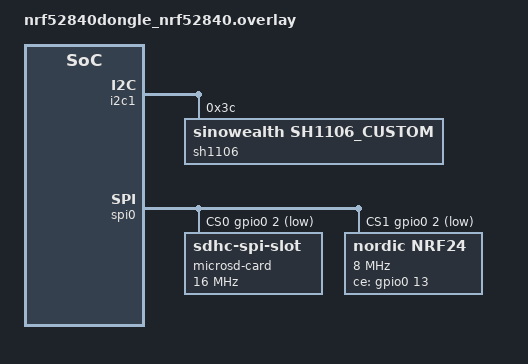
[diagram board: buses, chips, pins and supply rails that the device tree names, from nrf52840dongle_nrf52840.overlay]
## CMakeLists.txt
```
# SPDX-License-Identifier: Apache-2.0

cmake_minimum_required(VERSION 3.20.0)

list(APPEND EXTRA_ZEPHYR_MODULES
 "/users/pdlsurya/documents/EmbeddedProjects/ZephyrRTOS")

find_package(Zephyr REQUIRED HINTS $ENV{ZEPHYR_BASE})
project(z_nrf52_dongle)

target_sources(app PRIVATE src/main.c
                           src/my_timer/my_timer.c
                           src/led_indication/led_indication.c)
target_include_directories(app PRIVATE 
                                       src/my_timer
                                       src/led_indication )
```

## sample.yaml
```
sample:
  description: Zephyr application sample for nrf52 dongle
  name: z_nrf52_dongle
common:
  tags: introduction
  integration_platforms:
    - native_posix
  harness: console
  harness_config:
    type: one_line
    regex:
      - "Hello World! (.*)"
tests:
  sample.basic.helloworld:
    tags: introduction
```

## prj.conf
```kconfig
CONFIG_GPIO=y
CONFIG_CONSOLE=y
CONFIG_CONSOLE_SUBSYS=y
CONFIG_CONSOLE_GETLINE=y
CONFIG_DISPLAY=y

#CONFIG_LOG=y
CONFIG_USB_DEVICE_STACK=y
CONFIG_USB_DEVICE_PRODUCT="Surya's USB dongle"
CONFIG_USB_DEVICE_PID=0x0004
CONFIG_USB_DEVICE_INITIALIZE_AT_BOOT=y
CONFIG_SERIAL=y
CONFIG_UART_CONSOLE=y
#CONFIG_SDHC=y
#CONFIG_SDMMC_STACK=y
#CONFIG_SDMMC_SUBSYS=y
CONFIG_SD_DRV=y
CONFIG_SD_FAT=y
CONFIG_OLED_SH1106=y
CONFIG_SH1106_GFX=y
CONFIG_MAIN_STACK_SIZE=2048

CONFIG_BOARD_HAS_NRF5_BOOTLOADER=n

CONFIG_DEBUG_THREAD_INFO=y
```

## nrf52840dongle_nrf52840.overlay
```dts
&i2c1 {
    status = "okay";
    sh1106:sh1106@3c{
        compatible="sinowealth,sh1106_custom";
        status="okay";
        reg=<0x3c>;
    }; 
};

&i2c0 {
    status = "disabled";
};

&spi1 {
    status = "disabled";
};

&spi0 {
    status = "okay";
    cs-gpios = < &gpio0 2 GPIO_ACTIVE_LOW >,< &gpio0 2 GPIO_ACTIVE_LOW >;
    
    microsd:microsd@0{
     compatible ="zephyr,sdhc-spi-slot";
     spi-max-frequency= <16000000>;
     status="okay";
     reg = <0>;
     label = "microsd-card";
    };

    nrf24:nrf24@1{
        compatible="nordic,nrf24";
        reg=<1>;
        spi-max-frequency=<8000000>;
        ce-gpios=<&gpio0 13 GPIO_ACTIVE_HIGH>;
        status="okay";
        label = "nrf24";
    };
};
```

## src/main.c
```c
/*
 * Copyright (c) 2016 Intel Corporation
 *
 * SPDX-License-Identifier: Apache-2.0
 */
#include <stddef.h>
#include <zephyr/kernel.h>
#include <zephyr/device.h>
#include <zephyr/drivers/gpio.h>
#include <zephyr/console/console.h>

#define MY_STACK_SIZE 2048
#define MY_PRIORITY 1

K_CONDVAR_DEFINE(condVar);
K_MUTEX_DEFINE(mutex);
/* 1000 msec = 1 sec */
#define SLEEP_TIME_MS 100

/* The devicetree node identifier for the "led0" alias. */
#define LED0_NODE DT_ALIAS(led0)
#define LED1_NODE DT_ALIAS(led1)

/*
 * A build error on this line means your board is unsupported.
 * See the sample documentation for information on how to fix this.
 */
static const struct gpio_dt_spec led0 = GPIO_DT_SPEC_GET(LED0_NODE, gpios);
static const struct gpio_dt_spec led1 = GPIO_DT_SPEC_GET(LED1_NODE, gpios);

uint8_t logCnt = 0;

int main(void)
{

	while (1)
	{
		k_mutex_lock(&mutex, K_FOREVER);

		k_condvar_signal(&condVar);

		k_mutex_unlock(&mutex);
		k_sleep(K_MSEC(500));
	}
	return 0;
}

int myThread1(void *, void *, void *)
{

	int ret;
	if (!gpio_is_ready_dt(&led1))
		return 0;
	ret = gpio_pin_configure_dt(&led1, GPIO_OUTPUT_INACTIVE);
	if (ret < 0)
		return 0;

	while (1)
	{

		k_mutex_lock(&mutex, K_FOREVER);
		k_condvar_wait(&condVar, &mutex, K_FOREVER);
		ret = gpio_pin_toggle_dt(&led1);
		if (ret < 0)
			return 0;
		k_mutex_unlock(&mutex);
	}
	return 0;
}

int myThread0(void *, void *, void *)
{
	int ret;
	if (!gpio_is_ready_dt(&led0))
		return 0;
	ret = gpio_pin_configure_dt(&led0, GPIO_OUTPUT_INACTIVE);
	if (ret < 0)
		return 0;
	while (1)
	{
		k_mutex_lock(&mutex, K_FOREVER);
		k_condvar_wait(&condVar, &mutex, K_FOREVER);
		ret = gpio_pin_toggle_dt(&led0);
		if (ret < 0)
			return 0;
		k_mutex_unlock(&mutex);
	}
	return 0;
}

K_THREAD_DEFINE(my_tid, MY_STACK_SIZE,
				myThread0, NULL, NULL, NULL,
				MY_PRIORITY, 0, 0);

K_THREAD_DEFINE(oled_tid, MY_STACK_SIZE,
				myThread1, NULL, NULL, NULL,
				MY_PRIORITY, 0, 0);
```
